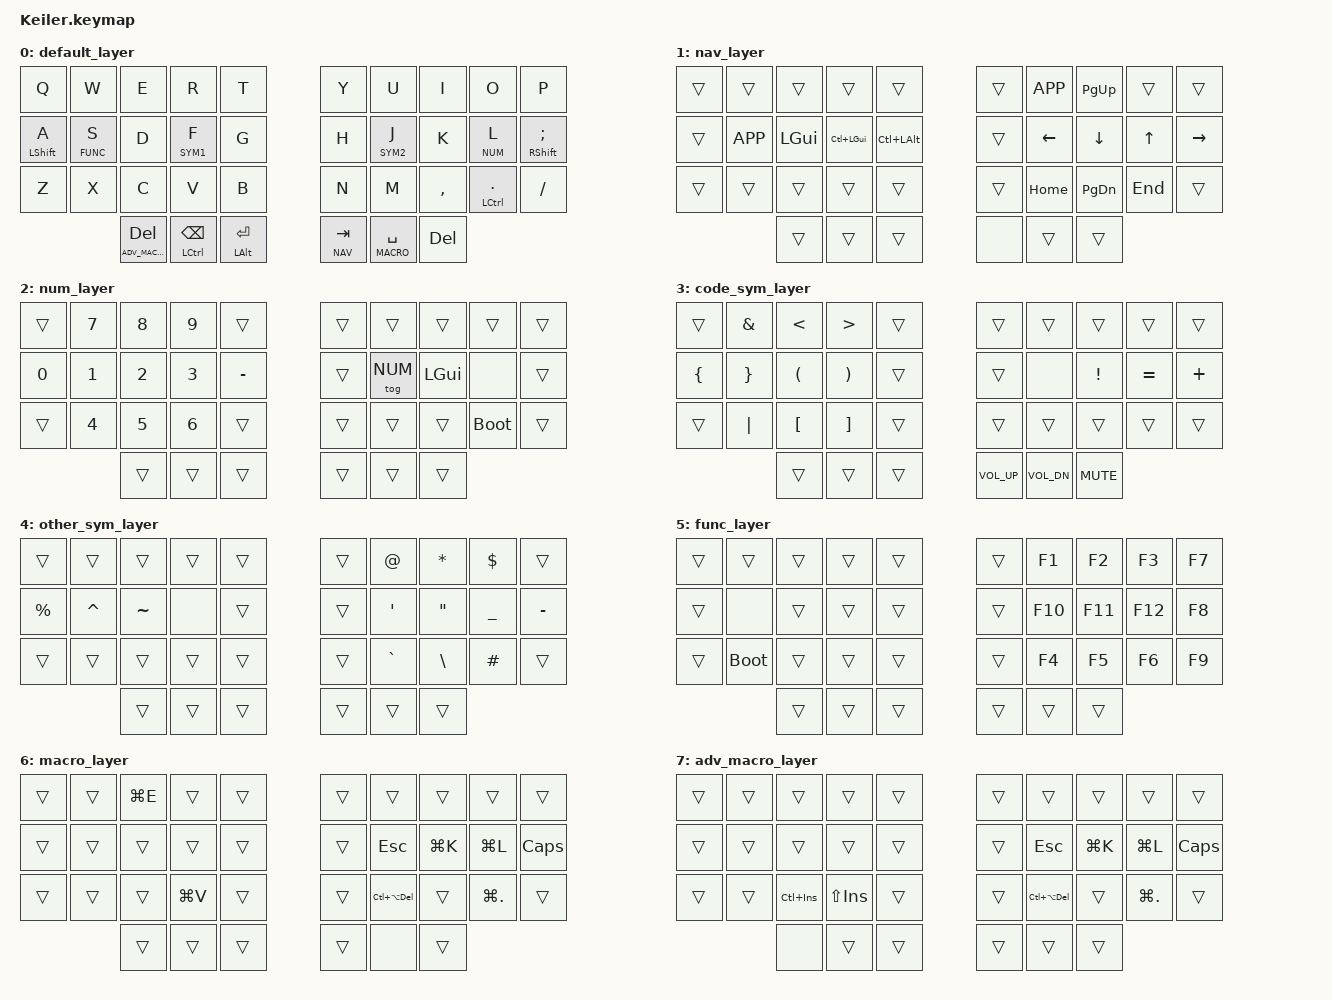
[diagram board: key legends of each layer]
// Copyright (c) 2022 The ZMK Contributors
// SPDX-License-Identifier: MIT

#include <behaviors.dtsi>
#include <dt-bindings/zmk/keys.h>
#include <dt-bindings/zmk/bt.h>
#include <dt-bindings/zmk/outputs.h>

#define NAV  1
#define NUM  2
#define SYM2 3
#define SYM1 4
#define FUNC 5
#define MACRO 6
#define ADV_MACRO 7



&caps_word {
    continue-list = <ESC>;
};



/ {
    
// ╭──────────────╮ ╭──────────────╮
// │ 0  1  2  3  4│ │ 5  6  7  8  9│
// │10 11 12 13 14│ │15 16 17 18 19│
// │20 21 22 23 24│ │25 26 27 28 29│
// ╰─────╮30 31 32│ │33 34 35╭─────╯
//       ╰────────╯ ╰────────╯

    combos {
        compatible = "zmk,combos";

        combo_caps {
            layers = <0>;
            timeout-ms = <75>;
            require-prior-idle-ms = <100>;
            key-positions = <14 15>;
            bindings = <&caps_word>;
        };
    };

    behaviors {
        ht: hold_tap {
            compatible = "zmk,behavior-hold-tap";
            #binding-cells = <2>;
            flavor = "tap-preferred";
            tapping-term-ms = <200>;
            require-prior-idle-ms = <175>;
            bindings = <&kp>, <&kp>;
        };

        lp: layer_press {
            compatible = "zmk,behavior-hold-tap";
            #binding-cells = <2>;
            flavor = "tap-preferred";
            tapping-term-ms = <200>;
            require-prior-idle-ms = <125>;
            // retro-tap;
            bindings = <&mo>, <&kp>;
        };

        mp: mod_press {
            compatible = "zmk,behavior-hold-tap";
            #binding-cells = <2>;
            flavor = "tap-preferred";
            tapping-term-ms = <200>;
            require-prior-idle-ms = <125>;
            bindings = <&kp>, <&kp>;
        };

        cs: ctrl_shift {
            compatible = "zmk,behavior-tap-dance";
            #binding-cells = <0>;
            tapping-term-ms = <200>;
            bindings = <&kp LCTRL>, <&kp LC(LSHFT)>;
        };
    };

    keymap {
        compatible = "zmk,keymap";
        default_layer {
            bindings = <
        //╭──────────┬──────────┬──────────┬──────────┬──────────╮          ╭──────────┬──────────┬──────────┬──────────┬──────────╮
        //│  Q       │  W       │  E       │  R       │  T       │          │  Y       │  U       │  I       │  O       │  P       │
            &kp Q      &kp W      &kp E      &kp R      &kp T                 &kp Y      &kp U      &kp I      &kp O      &kp P
        //├──────────┼──────────┼──────────┼──────────┼──────────┤          ├──────────┼──────────┼──────────┼──────────┼──────────┤
        //│  A       │  S       │  D       │  F       │  G       │          │  H       │  J       │  K       │  L       │   ;      │
           &ht LSHFT A &lp FUNC S &kp D     &lp SYM1 F &kp G                &kp H      &lp SYM2 J   &kp K     &lp NUM L   &ht RSHFT SEMI
        //├──────────┼──────────┼──────────┼──────────┼──────────┤          ├──────────┼──────────┼──────────┼──────────┼──────────┤
        //│  Z       │  X       │  C       │  V       │  B       │          │  N       │  M       │ , <      │ . >      │ / ?      │
            &kp Z      &kp X      &kp C      &kp V      &kp B                 &kp N      &kp M     &kp COMMA &ht LCTRL DOT &kp FSLH
        //╰──────────┴──────────┴──────────┼──────────┼──────────┤          ├──────────┼──────────┼──────────┴──────────┴──────────╯
                         &lp ADV_MACRO DEL  &ht LCTRL BSPC &ht LALT RET       &lp NAV TAB &lp MACRO SPACE &kp DEL
        //                      ╰──────────┴──────────┴──────────╯          ╰──────────┴──────────┴──────────╯
        >;
        };

        nav_layer {  // done
            bindings = <
        //╭──────────┬──────────┬──────────┬──────────┬──────────╮          ╭──────────┬──────────┬──────────┬──────────┬──────────╮
        //│          │          │          │          │          │          │          │          │          │          │          │
            &trans      &trans    &trans     &trans     &trans                &trans     &kp K_APP  &kp PG_UP   &trans     &trans
        //├──────────┼──────────┼──────────┼──────────┼──────────┤          ├──────────┼──────────┼──────────┼──────────┼──────────┤
        //│          │          │          │          │          │          │          │          │          │          │          │
            &trans     &kp K_APP  &kp LGUI  &kp LC(LGUI) &kp LC(LALT)         &trans     &kp LEFT   &kp DOWN   &kp UP    &kp RIGHT
        //├──────────┼──────────┼──────────┼──────────┼──────────┤          ├──────────┼──────────┼──────────┼──────────┼──────────┤
        //│          │          │          │          │          │          │          │          │          │          │          │
            &trans     &trans     &trans     &trans      &trans               &trans      &kp HOME  &kp PG_DN  &kp END    &trans
        //╰──────────┴──────────┴──────────┼──────────┼──────────┤          ├──────────┼──────────┼──────────┴──────────┴──────────╯
                                  &trans      &trans    &trans                 &none      &trans     &trans
        //                      ╰──────────┴──────────┴──────────╯          ╰──────────┴──────────┴──────────╯
            >;
        };

        num_layer { // done
            bindings = <
        //╭──────────┬──────────┬──────────┬──────────┬──────────╮          ╭──────────┬──────────┬──────────┬──────────┬──────────╮
        //│          │    7     │    8     │    9     │          │          │          │          │          │          │          │
             &trans   &kp N7       &kp N8    &kp N9     &trans                &trans      &trans    &trans     &trans     &trans
        //├──────────┼──────────┼──────────┼──────────┼──────────┤          ├──────────┼──────────┼──────────┼──────────┼──────────┤
        //│    0     │    1     │    2     │    3     │          │          │          │          │          │          │          │
            &kp N0      &kp N1    &kp N2      &kp N3    &kp MINUS              &trans     &tog NUM  &kp LGUI    &none      &trans
        //├──────────┼──────────┼──────────┼──────────┼──────────┤          ├──────────┼──────────┼──────────┼──────────┼──────────┤
        //│          │    4     │    5     │    6     │         │           │          │          │          │          │          │
              &trans   &kp N4     &kp N5     &kp N6      &trans               &trans      &trans     &trans   &bootloader  &trans
        //╰──────────┴──────────┴──────────┼──────────┼──────────┤          ├──────────┼──────────┼──────────┴──────────┴──────────╯
                                  &trans     &trans     &trans                &trans      &trans      &trans
        //                      ╰──────────┴──────────┴──────────╯          ╰──────────┴──────────┴──────────╯
            >;
        };
        
        code_sym_layer { // done
            bindings = <
        //╭──────────┬──────────┬──────────┬──────────┬──────────╮          ╭──────────┬──────────┬──────────┬──────────┬──────────╮
        //│          │          │          │          │          │          │          │          │          │          │          │
            &trans     &kp AMPS   &kp LT     &kp GT     &trans                &trans     &trans     &trans     &trans     &trans
        //├──────────┼──────────┼──────────┼──────────┼──────────┤          ├──────────┼──────────┼──────────┼──────────┼──────────┤
        //│          │          │          │          │          │          │          │          │          │          │          │
            &kp LBRC   &kp RBRC   &kp LPAR  &kp RPAR   &trans                &trans      &none      &kp EXCL   &kp EQUAL  &kp PLUS
        //├──────────┼──────────┼──────────┼──────────┼──────────┤          ├──────────┼──────────┼──────────┼──────────┼──────────┤
        //│          │          │          │          │          │          │          │          │          │          │          │
            &trans     &kp PIPE   &kp LBKT   &kp RBKT   &trans                 &trans     &trans     &trans     &trans     &trans
        //╰──────────┴──────────┴──────────┼──────────┼──────────┤          ├──────────┼──────────┼──────────┴──────────┴──────────╯
        //                      │          │          │          │          │          │          │          │ 
                                  &trans     &trans     &trans              &kp C_VOL_UP &kp C_VOL_DN &kp C_MUTE
        //                      ╰──────────┴──────────┴──────────╯          ╰──────────┴──────────┴──────────╯
            >;
        };

        other_sym_layer { // done
            bindings = <
        //╭──────────┬──────────┬──────────┬──────────┬──────────╮          ╭──────────┬──────────┬──────────┬──────────┬──────────╮
        //│          │          │          │          │          │          │          │          │          │          │          │
            &trans      &trans      &trans    &trans     &trans                &trans    &kp AT     &kp STAR   &kp DLLR   &trans
        //├──────────┼──────────┼──────────┼──────────┼──────────┤          ├──────────┼──────────┼──────────┼──────────┼──────────┤
        //│          │          │          │          │          │          │          │          │          │          │          │
            &kp PRCNT  &kp CARET  &kp TILDE  &none      &trans                &trans     &kp SQT    &kp DQT    &kp UNDER  &kp MINUS
        //├──────────┼──────────┼──────────┼──────────┼──────────┤          ├──────────┼──────────┼──────────┼──────────┼──────────┤
        //│          │          │          │          │          │          │          │          │          │          │          │
            &trans      &trans      &trans    &trans   &trans                 &trans     &kp GRAVE  &kp BSLH   &kp HASH   &trans
        //╰──────────┴──────────┴──────────┼──────────┼──────────┤          ├──────────┼──────────┼──────────┴──────────┴──────────╯
        //                      │          │          │          │          │          │          │          │ 
                                  &trans      &trans      &trans              &trans     &trans     &trans
        //                      ╰──────────┴──────────┴──────────╯          ╰──────────┴──────────┴──────────╯
            >;
        };

        
        func_layer { // done
            bindings = <
        //╭──────────┬──────────┬──────────┬──────────┬──────────╮          ╭──────────┬──────────┬──────────┬──────────┬──────────╮
        //│          │          │          │          │          │          │          │          │          │          │          │
            &trans      &trans     &trans    &trans     &trans                 &trans    &kp F1     &kp F2     &kp F3     &kp F7
        //├──────────┼──────────┼──────────┼──────────┼──────────┤          ├──────────┼──────────┼──────────┼──────────┼──────────┤
        //│          │          │          │          │          │          │          │          │          │          │          │
            &trans      &none      &trans     &trans    &trans                &trans     &kp F10     &kp F11    &kp F12   &kp F8
        //├──────────┼──────────┼──────────┼──────────┼──────────┤          ├──────────┼──────────┼──────────┼──────────┼──────────┤
        //│          │          │          │          │          │          │          │          │          │          │          │
            &trans    &bootloader   &trans    &trans   &trans                 &trans     &kp F4     &kp F5     &kp F6     &kp F9
        //╰──────────┴──────────┴──────────┼──────────┼──────────┤          ├──────────┼──────────┼──────────┴──────────┴──────────╯
        //                      │          │          │          │          │          │          │          │ 
                                  &trans      &trans      &trans              &trans     &trans     &trans
        //                      ╰──────────┴──────────┴──────────╯          ╰──────────┴──────────┴──────────╯
            >;
        };

        macro_layer { // done
            bindings = <
        //╭──────────┬──────────┬──────────┬──────────┬──────────╮          ╭──────────┬──────────┬──────────┬──────────┬──────────╮
        //│          │          │          │          │          │          │          │          │          │          │          │
            &trans      &trans   &kp LG(E)    &trans    &trans                &trans     &trans     &trans     &trans     &trans
        //├──────────┼──────────┼──────────┼──────────┼──────────┤          ├──────────┼──────────┼──────────┼──────────┼──────────┤
        //│          │          │          │          │          │          │          │          │          │          │          │
            &trans     &trans      &trans     &trans    &trans                &trans     &kp ESC    &kp LG(K)  &kp LG(L)  &kp CAPS
        //├──────────┼──────────┼──────────┼──────────┼──────────┤          ├──────────┼──────────┼──────────┼──────────┼──────────┤
        //│          │          │          │          │          │          │          │          │          │          │          │
            &trans      &trans      &trans  &kp LG(V)   &trans                &trans   &kp LC(LA(DEL)) &trans  &kp LG(DOT) &trans
        //╰──────────┴──────────┴──────────┼──────────┼──────────┤          ├──────────┼──────────┼──────────┴──────────┴──────────╯
        //                      │          │          │          │          │          │          │          │ 
                                  &trans      &trans      &trans              &trans     &none      &trans
        //                      ╰──────────┴──────────┴──────────╯          ╰──────────┴──────────┴──────────╯

            >;
        };

         adv_macro_layer { // done
            bindings = <
        //╭──────────┬──────────┬──────────┬──────────┬──────────╮          ╭──────────┬──────────┬──────────┬──────────┬──────────╮
        //│          │          │          │          │          │          │          │          │          │          │          │
            &trans      &trans      &trans    &trans    &trans                &trans     &trans     &trans     &trans     &trans
        //├──────────┼──────────┼──────────┼──────────┼──────────┤          ├──────────┼──────────┼──────────┼──────────┼──────────┤
        //│          │          │          │          │          │          │          │          │          │          │          │
            &trans     &trans      &trans     &trans    &trans                &trans     &kp ESC    &kp LG(K)  &kp LG(L)  &kp CAPS
        //├──────────┼──────────┼──────────┼──────────┼──────────┤          ├──────────┼──────────┼──────────┼──────────┼──────────┤
        //│          │          │          │          │          │          │          │          │          │          │          │
            &trans      &trans  &kp LC(INS) &kp LS(INS) &trans                &trans   &kp LC(LA(DEL)) &trans  &kp LG(DOT) &trans
        //╰──────────┴──────────┴──────────┼──────────┼──────────┤          ├──────────┼──────────┼──────────┴──────────┴──────────╯
        //                      │          │          │          │          │          │          │          │ 
                                  &none       &trans      &trans              &trans     &trans      &trans
        //                      ╰──────────┴──────────┴──────────╯          ╰──────────┴──────────┴──────────╯

            >;
        };
    };
};
